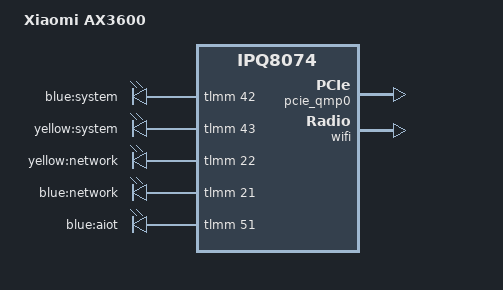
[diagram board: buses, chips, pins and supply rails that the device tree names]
// SPDX-License-Identifier: GPL-2.0-or-later OR MIT
/* Copyright (c) 2021, Robert Marko <robimarko@gmail.com> */

/dts-v1/;

#include "ipq8071-ax3600.dtsi"

/ {
	model = "Xiaomi AX3600";
	compatible = "xiaomi,ax3600", "qcom,ipq8074";

	leds {
		compatible = "gpio-leds";

		led_system_blue: system-blue {
			label = "blue:system";
			gpios = <&tlmm 42 GPIO_ACTIVE_HIGH>;
		};

		led_system_yellow: system-yellow {
			label = "yellow:system";
			gpios = <&tlmm 43 GPIO_ACTIVE_HIGH>;
		};

		network-yellow {
			label = "yellow:network";
			gpios = <&tlmm 22 GPIO_ACTIVE_HIGH>;
		};

		network-blue {
			label = "blue:network";
			gpios = <&tlmm 21 GPIO_ACTIVE_HIGH>;
		};

		aiot {
			label = "blue:aiot";
			gpios = <&tlmm 51 GPIO_ACTIVE_HIGH>;
			linux,default-trigger = "phy0tpt";
		};
	};
};

&pcie_qmp0 {
	status = "okay";
};

&wifi {
	qcom,ath11k-calibration-variant = "Xiaomi-AX3600";
};
